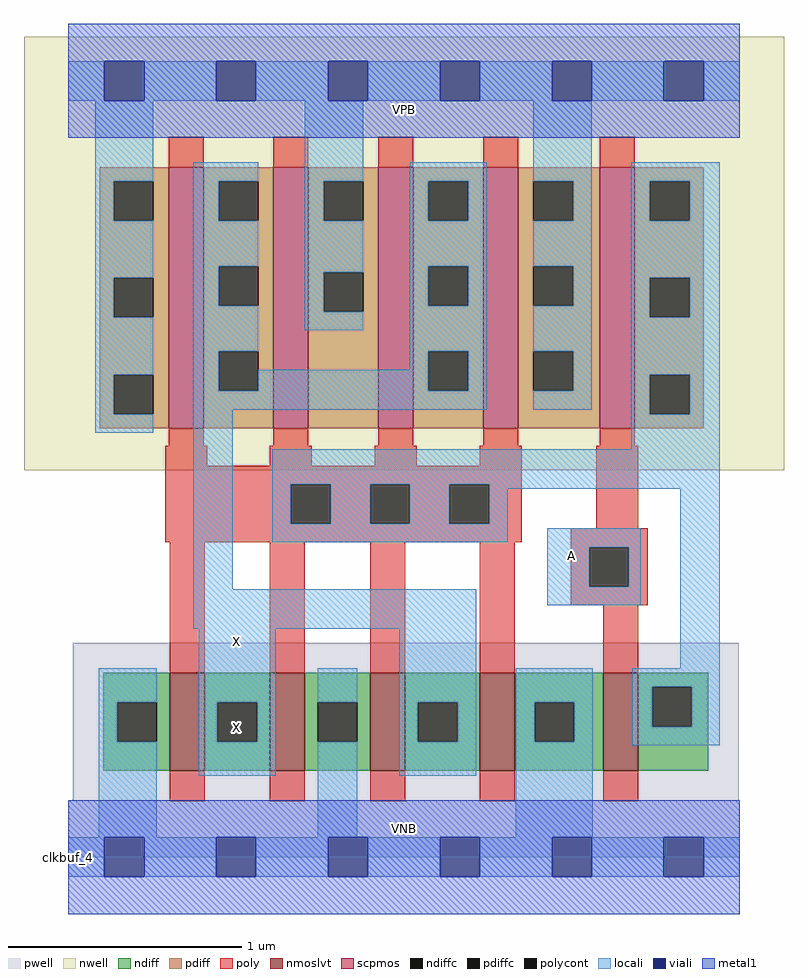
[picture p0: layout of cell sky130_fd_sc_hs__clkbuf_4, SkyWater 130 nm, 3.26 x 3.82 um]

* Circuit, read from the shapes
.subckt sky130_fd_sc_hs__clkbuf_4 A VGND VNB VPB VPWR X
XM1 X n1 VGND VNB sky130_fd_pr__nfet_01v8_lvt w=0.42 l=0.15 m=4
XM2 n1 A VGND VNB sky130_fd_pr__nfet_01v8_lvt w=0.42 l=0.15
XM3 X n1 VPWR VPB sky130_fd_pr__pfet_01v8 w=1.12 l=0.15 m=4
XM4 n1 A VPWR VPB sky130_fd_pr__pfet_01v8 w=1.12 l=0.15
.ends

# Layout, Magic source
magic
tech sky130A
magscale 1 2
<< nwell >>
rect -38 332 614 704
<< pwell >>
rect 4 49 575 184
rect 0 0 576 49
<< scpmos >>
rect 86 368 116 592
rect 176 368 206 592
rect 266 368 296 592
rect 356 368 386 592
rect 456 368 486 592
<< nmoslvt >>
rect 87 74 117 158
rect 173 74 203 158
rect 259 74 289 158
rect 353 74 383 158
rect 459 74 489 158
<< ndiff >>
rect 30 133 87 158
rect 30 99 42 133
rect 76 99 87 133
rect 30 74 87 99
rect 117 133 173 158
rect 117 99 128 133
rect 162 99 173 133
rect 117 74 173 99
rect 203 133 259 158
rect 203 99 214 133
rect 248 99 259 133
rect 203 74 259 99
rect 289 133 353 158
rect 289 99 300 133
rect 334 99 353 133
rect 289 74 353 99
rect 383 133 459 158
rect 383 99 400 133
rect 434 99 459 133
rect 383 74 459 99
rect 489 146 549 158
rect 489 112 501 146
rect 535 112 549 146
rect 489 74 549 112
<< pdiff >>
rect 27 580 86 592
rect 27 546 39 580
rect 73 546 86 580
rect 27 497 86 546
rect 27 463 39 497
rect 73 463 86 497
rect 27 414 86 463
rect 27 380 39 414
rect 73 380 86 414
rect 27 368 86 380
rect 116 580 176 592
rect 116 546 129 580
rect 163 546 176 580
rect 116 507 176 546
rect 116 473 129 507
rect 163 473 176 507
rect 116 434 176 473
rect 116 400 129 434
rect 163 400 176 434
rect 116 368 176 400
rect 206 580 266 592
rect 206 546 219 580
rect 253 546 266 580
rect 206 502 266 546
rect 206 468 219 502
rect 253 468 266 502
rect 206 368 266 468
rect 296 580 356 592
rect 296 546 309 580
rect 343 546 356 580
rect 296 507 356 546
rect 296 473 309 507
rect 343 473 356 507
rect 296 434 356 473
rect 296 400 309 434
rect 343 400 356 434
rect 296 368 356 400
rect 386 580 456 592
rect 386 546 399 580
rect 433 546 456 580
rect 386 507 456 546
rect 386 473 399 507
rect 433 473 456 507
rect 386 434 456 473
rect 386 400 399 434
rect 433 400 456 434
rect 386 368 456 400
rect 486 580 545 592
rect 486 546 499 580
rect 533 546 545 580
rect 486 497 545 546
rect 486 463 499 497
rect 533 463 545 497
rect 486 414 545 463
rect 486 380 499 414
rect 533 380 545 414
rect 486 368 545 380
<< ndiffc >>
rect 42 99 76 133
rect 128 99 162 133
rect 214 99 248 133
rect 300 99 334 133
rect 400 99 434 133
rect 501 112 535 146
<< pdiffc >>
rect 39 546 73 580
rect 39 463 73 497
rect 39 380 73 414
rect 129 546 163 580
rect 129 473 163 507
rect 129 400 163 434
rect 219 546 253 580
rect 219 468 253 502
rect 309 546 343 580
rect 309 473 343 507
rect 309 400 343 434
rect 399 546 433 580
rect 399 473 433 507
rect 399 400 433 434
rect 499 546 533 580
rect 499 463 533 497
rect 499 380 533 414
<< poly >>
rect 86 592 116 618
rect 176 592 206 618
rect 266 592 296 618
rect 356 592 386 618
rect 456 592 486 618
rect 86 353 116 368
rect 176 353 206 368
rect 266 353 296 368
rect 356 353 386 368
rect 456 353 486 368
rect 83 336 119 353
rect 173 336 209 353
rect 263 336 299 353
rect 353 336 389 353
rect 83 320 389 336
rect 83 286 191 320
rect 225 286 259 320
rect 293 286 327 320
rect 361 286 389 320
rect 83 270 389 286
rect 453 282 489 353
rect 87 158 117 270
rect 173 158 203 270
rect 259 158 289 270
rect 353 158 383 270
rect 431 266 497 282
rect 431 232 447 266
rect 481 232 497 266
rect 431 216 497 232
rect 459 158 489 216
rect 87 48 117 74
rect 173 48 203 74
rect 259 48 289 74
rect 353 48 383 74
rect 459 48 489 74
<< polycont >>
rect 191 286 225 320
rect 259 286 293 320
rect 327 286 361 320
rect 447 232 481 266
<< locali >>
rect 0 649 31 683
rect 65 649 127 683
rect 161 649 223 683
rect 257 649 319 683
rect 353 649 415 683
rect 449 649 511 683
rect 545 649 576 683
rect 23 580 73 649
rect 23 546 39 580
rect 23 497 73 546
rect 23 463 39 497
rect 23 414 73 463
rect 23 380 39 414
rect 23 364 73 380
rect 107 580 163 596
rect 107 546 129 580
rect 107 507 163 546
rect 107 473 129 507
rect 107 434 163 473
rect 203 580 253 649
rect 203 546 219 580
rect 203 502 253 546
rect 203 468 219 502
rect 203 452 253 468
rect 293 580 359 596
rect 293 546 309 580
rect 343 546 359 580
rect 293 507 359 546
rect 293 473 309 507
rect 343 473 359 507
rect 107 400 129 434
rect 293 434 359 473
rect 293 418 309 434
rect 163 400 309 418
rect 343 400 359 434
rect 107 384 359 400
rect 399 580 449 649
rect 433 546 449 580
rect 399 507 449 546
rect 433 473 449 507
rect 399 434 449 473
rect 433 400 449 434
rect 399 384 449 400
rect 483 580 559 596
rect 483 546 499 580
rect 533 546 559 580
rect 483 497 559 546
rect 483 463 499 497
rect 533 463 559 497
rect 483 414 559 463
rect 107 230 141 384
rect 483 380 499 414
rect 533 380 559 414
rect 483 350 559 380
rect 175 320 559 350
rect 175 286 191 320
rect 225 286 259 320
rect 293 286 327 320
rect 361 316 559 320
rect 361 286 377 316
rect 175 270 377 286
rect 411 266 491 282
rect 411 232 447 266
rect 481 232 491 266
rect 107 196 350 230
rect 411 216 491 232
rect 26 133 76 162
rect 26 99 42 133
rect 26 17 76 99
rect 112 133 178 196
rect 112 99 128 133
rect 162 99 178 133
rect 112 70 178 99
rect 214 133 248 162
rect 214 17 248 99
rect 284 133 350 196
rect 525 162 559 316
rect 284 99 300 133
rect 334 99 350 133
rect 284 70 350 99
rect 384 133 450 162
rect 384 99 400 133
rect 434 99 450 133
rect 384 17 450 99
rect 484 146 559 162
rect 484 112 501 146
rect 535 112 559 146
rect 484 96 559 112
rect 0 -17 31 17
rect 65 -17 127 17
rect 161 -17 223 17
rect 257 -17 319 17
rect 353 -17 415 17
rect 449 -17 511 17
rect 545 -17 576 17
<< viali >>
rect 31 649 65 683
rect 127 649 161 683
rect 223 649 257 683
rect 319 649 353 683
rect 415 649 449 683
rect 511 649 545 683
rect 31 -17 65 17
rect 127 -17 161 17
rect 223 -17 257 17
rect 319 -17 353 17
rect 415 -17 449 17
rect 511 -17 545 17
<< metal1 >>
rect 0 683 576 715
rect 0 649 31 683
rect 65 649 127 683
rect 161 649 223 683
rect 257 649 319 683
rect 353 649 415 683
rect 449 649 511 683
rect 545 649 576 683
rect 0 617 576 649
rect 0 17 576 49
rect 0 -17 31 17
rect 65 -17 127 17
rect 161 -17 223 17
rect 257 -17 319 17
rect 353 -17 415 17
rect 449 -17 511 17
rect 545 -17 576 17
rect 0 -49 576 -17
<< labels >>
rlabel comment s 0 0 0 0 4 clkbuf_4
flabel pwell s 0 0 576 49 0 FreeSans 200 0 0 0 VNB
port 3 nsew ground bidirectional
flabel nwell s 0 617 576 666 0 FreeSans 200 0 0 0 VPB
port 4 nsew power bidirectional
flabel metal1 s 0 617 576 666 0 FreeSans 340 0 0 0 VPWR
port 5 nsew power bidirectional
flabel metal1 s 0 0 576 49 0 FreeSans 340 0 0 0 VGND
port 2 nsew ground bidirectional
flabel locali s 415 242 449 276 0 FreeSans 340 0 0 0 A
port 1 nsew signal input
flabel locali s 127 94 161 128 0 FreeSans 340 0 0 0 X
port 6 nsew signal output
flabel locali s 127 168 161 202 0 FreeSans 340 0 0 0 X
port 6 nsew signal output
<< properties >>
string LEFsite unit
string LEFclass CORE
string FIXED_BBOX 0 0 576 666
string GDS_FILE $PDKPATH/libs.ref/sky130_fd_sc_hs/gds/sky130_fd_sc_hs.gds
string LEFsymmetry X Y
string GDS_END 726696
string GDS_START 721200
<< end >>
